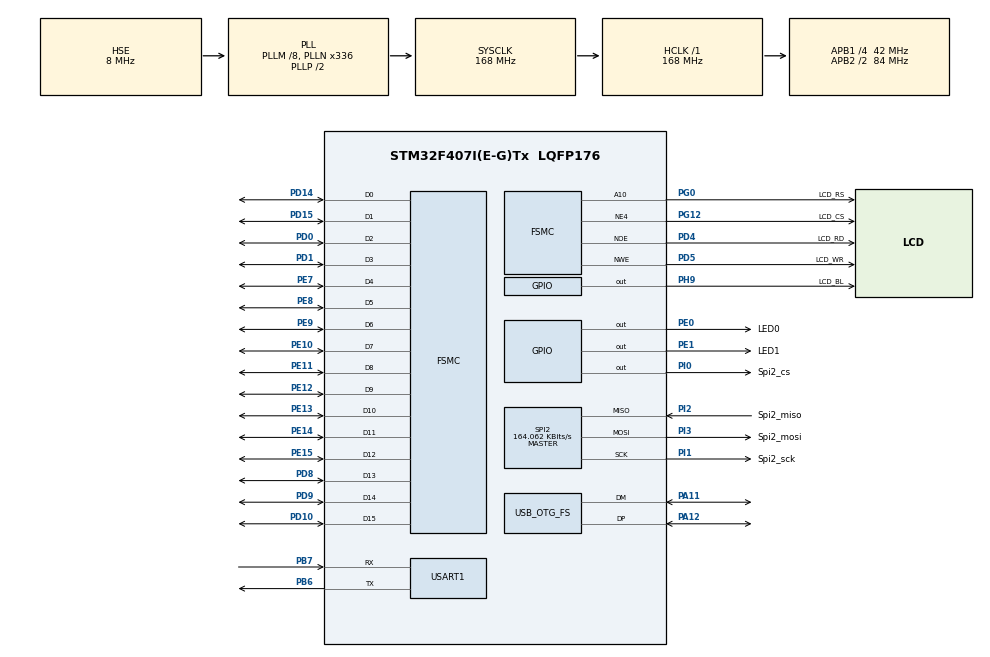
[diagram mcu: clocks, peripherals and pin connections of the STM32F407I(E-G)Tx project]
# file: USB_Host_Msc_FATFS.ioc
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FSMC.AddressSetupTime1=0xf
FSMC.DataSetupTime1=60
FSMC.ExtendedAddressSetupTime1=9
FSMC.ExtendedDataSetupTime1=9
FSMC.ExtendedMode1=FSMC_EXTENDED_MODE_ENABLE
Mcu.Family=STM32F4
Mcu.Name=STM32F407I(E-G)Tx
Mcu.Package=LQFP176
NVIC.OTG_FS_IRQn=true\:1\:0\:true\:false\:true\:true
NVIC.PriorityGroup=NVIC_PRIORITYGROUP_2
PA11.Mode=Host_Only
PA11.Signal=USB_OTG_FS_DM
PA12.Mode=Host_Only
PA12.Signal=USB_OTG_FS_DP
PB6.Mode=Asynchronous
PB6.Signal=USART1_TX
PB7.Mode=Asynchronous
PB7.Signal=USART1_RX
PD0.Signal=FSMC_D2_DA2
PD1.Signal=FSMC_D3_DA3
PD10.Signal=FSMC_D15_DA15
PD14.Signal=FSMC_D0_DA0
PD15.Signal=FSMC_D1_DA1
PD4.GPIO_Label=LCD_RD
PD4.GPIO_PuPd=GPIO_PULLUP
PD4.Signal=FSMC_NOE
PD5.GPIO_Label=LCD_WR
PD5.GPIO_PuPd=GPIO_PULLUP
PD5.Signal=FSMC_NWE
PD8.Signal=FSMC_D13_DA13
PD9.Signal=FSMC_D14_DA14
PE0.GPIO_Label=LED0
PE0.GPIO_Speed=GPIO_SPEED_FREQ_HIGH
PE0.PinState=GPIO_PIN_SET
PE0.Signal=GPIO_Output
PE1.GPIO_Label=LED1
PE1.GPIO_Speed=GPIO_SPEED_FREQ_HIGH
PE1.PinState=GPIO_PIN_SET
PE1.Signal=GPIO_Output
PE10.Signal=FSMC_D7_DA7
PE11.Signal=FSMC_D8_DA8
PE12.Signal=FSMC_D9_DA9
PE13.Signal=FSMC_D10_DA10
PE14.Signal=FSMC_D11_DA11
PE15.Signal=FSMC_D12_DA12
PE7.Signal=FSMC_D4_DA4
PE8.Signal=FSMC_D5_DA5
PE9.Signal=FSMC_D6_DA6
PG0.GPIO_Label=LCD_RS
PG0.GPIO_PuPd=GPIO_PULLUP
PG0.Signal=FSMC_A10
PG12.GPIO_Label=LCD_CS
PG12.GPIO_PuPd=GPIO_PULLUP
PG12.Mode=NorPsramChipSelect4_1
PG12.Signal=FSMC_NE4
PH0-OSC_IN.Mode=HSE-External-Oscillator
PH0-OSC_IN.Signal=RCC_OSC_IN
PH1-OSC_OUT.Mode=HSE-External-Oscillator
PH1-OSC_OUT.Signal=RCC_OSC_OUT
PH9.GPIO_Label=LCD_BL
PH9.GPIO_Speed=GPIO_SPEED_FREQ_HIGH
PH9.PinState=GPIO_PIN_SET
PH9.Signal=GPIO_Output
PI0.GPIO_Label=Spi2_cs
PI0.GPIO_PuPd=GPIO_PULLUP
PI0.GPIO_Speed=GPIO_SPEED_FREQ_HIGH
PI0.PinState=GPIO_PIN_SET
PI0.Signal=GPIO_Output
PI1.GPIO_Label=Spi2_sck
PI1.GPIO_PuPd=GPIO_PULLUP
PI1.Mode=Full_Duplex_Master
PI1.Signal=SPI2_SCK
PI2.GPIO_Label=Spi2_miso
PI2.GPIO_PuPd=GPIO_PULLUP
PI2.Mode=Full_Duplex_Master
PI2.Signal=SPI2_MISO
PI3.GPIO_Label=Spi2_mosi
PI3.GPIO_PuPd=GPIO_PULLUP
PI3.Mode=Full_Duplex_Master
PI3.Signal=SPI2_MOSI
ProjectManager.HeapSize=0x200
ProjectManager.StackSize=0x400
ProjectManager.TargetToolchain=MDK-ARM V5
RCC.48MHZClocksFreq_Value=48000000
RCC.AHBFreq_Value=168000000
RCC.APB1CLKDivider=RCC_HCLK_DIV4
RCC.APB1Freq_Value=42000000
RCC.APB1TimFreq_Value=84000000
RCC.APB2CLKDivider=RCC_HCLK_DIV2
RCC.APB2Freq_Value=84000000
RCC.APB2TimFreq_Value=168000000
RCC.CortexFreq_Value=168000000
RCC.HCLKFreq_Value=168000000
RCC.HSE_VALUE=8000000
RCC.HSI_VALUE=16000000
RCC.LSE_VALUE=32768
RCC.PLLM=8
RCC.PLLN=336
RCC.PLLQ=7
RCC.SYSCLKFreq_VALUE=168000000
RCC.SYSCLKSource=RCC_SYSCLKSOURCE_PLLCLK
RCC.VCOOutputFreq_Value=336000000
SH.FSMC_A10.0=FSMC_A10,A10_1
SH.FSMC_D0_DA0.0=FSMC_D0,16b-d1
SH.FSMC_D10_DA10.0=FSMC_D10,16b-d1
SH.FSMC_D11_DA11.0=FSMC_D11,16b-d1
SH.FSMC_D12_DA12.0=FSMC_D12,16b-d1
SH.FSMC_D13_DA13.0=FSMC_D13,16b-d1
SH.FSMC_D14_DA14.0=FSMC_D14,16b-d1
SH.FSMC_D15_DA15.0=FSMC_D15,16b-d1
SH.FSMC_D1_DA1.0=FSMC_D1,16b-d1
SH.FSMC_D2_DA2.0=FSMC_D2,16b-d1
SH.FSMC_D3_DA3.0=FSMC_D3,16b-d1
SH.FSMC_D4_DA4.0=FSMC_D4,16b-d1
SH.FSMC_D5_DA5.0=FSMC_D5,16b-d1
SH.FSMC_D6_DA6.0=FSMC_D6,16b-d1
SH.FSMC_D7_DA7.0=FSMC_D7,16b-d1
SH.FSMC_D8_DA8.0=FSMC_D8,16b-d1
SH.FSMC_D9_DA9.0=FSMC_D9,16b-d1
SH.FSMC_NOE.0=FSMC_NOE,Lcd1
SH.FSMC_NWE.0=FSMC_NWE,Lcd1
SPI2.BaudRatePrescaler=SPI_BAUDRATEPRESCALER_256
SPI2.CLKPhase=SPI_PHASE_2EDGE
SPI2.CLKPolarity=SPI_POLARITY_HIGH
SPI2.CalculateBaudRate=164.062 KBits/s
SPI2.Direction=SPI_DIRECTION_2LINES
SPI2.Mode=SPI_MODE_MASTER
SPI2.VirtualType=VM_MASTER
USART1.VirtualMode=VM_ASYNC
USB_OTG_FS.VirtualMode=Host_Only
USB_OTG_FS.phy_itface=HCD_PHY_EMBEDDED
board=USB_Host_Msc_FATFS

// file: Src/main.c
/**
  ******************************************************************************
  * @file           : main.c
  * @brief          : Main program body
  ******************************************************************************
  ** This notice applies to any and all portions of this file
  * that are not between comment pairs USER CODE BEGIN and
  * USER CODE END. Other portions of this file, whether
  * inserted by the user or by software development tools
  * are owned by their respective copyright owners.
  *
  * COPYRIGHT(c) 2024 STMicroelectronics
  *
  * Redistribution and use in source and binary forms, with or without modification,
  * are permitted provided that the following conditions are met:
  *   1. Redistributions of source code must retain the above copyright notice,
  *      this list of conditions and the following disclaimer.
  *   2. Redistributions in binary form must reproduce the above copyright notice,
  *      this list of conditions and the following disclaimer in the documentation
  *      and/or other materials provided with the distribution.
  *   3. Neither the name of STMicroelectronics nor the names of its contributors
  *      may be used to endorse or promote products derived from this software
  *      without specific prior written permission.
  *
  * THIS SOFTWARE IS PROVIDED BY THE COPYRIGHT HOLDERS AND CONTRIBUTORS "AS IS"
  * AND ANY EXPRESS OR IMPLIED WARRANTIES, INCLUDING, BUT NOT LIMITED TO, THE
  * IMPLIED WARRANTIES OF MERCHANTABILITY AND FITNESS FOR A PARTICULAR PURPOSE ARE
  * DISCLAIMED. IN NO EVENT SHALL THE COPYRIGHT HOLDER OR CONTRIBUTORS BE LIABLE
  * FOR ANY DIRECT, INDIRECT, INCIDENTAL, SPECIAL, EXEMPLARY, OR CONSEQUENTIAL
  * DAMAGES (INCLUDING, BUT NOT LIMITED TO, PROCUREMENT OF SUBSTITUTE GOODS OR
  * SERVICES; LOSS OF USE, DATA, OR PROFITS; OR BUSINESS INTERRUPTION) HOWEVER
  * CAUSED AND ON ANY THEORY OF LIABILITY, WHETHER IN CONTRACT, STRICT LIABILITY,
  * OR TORT (INCLUDING NEGLIGENCE OR OTHERWISE) ARISING IN ANY WAY OUT OF THE USE
  * OF THIS SOFTWARE, EVEN IF ADVISED OF THE POSSIBILITY OF SUCH DAMAGE.
  *
  ******************************************************************************
  */
#include "main.h"
#include "stm32f4xx_hal.h"
#include "spi.h"
#include "usart.h"
#include "usb_otg.h"
#include "gpio.h"
#include "fsmc.h"

/* USER CODE BEGIN Includes */
#include "lcd.h"
#include "stdio.h"
#include "delay.h"

#include "usbh_def.h"  //USBH_HandleTypeDef

#include "norflash.h"
#include "usbh_core.h"
#include "usbh_msc.h"
#include "exfuns.h"
/* USER CODE END Includes */

/* USER CODE BEGIN PV */
/* Private variables ---------------------------------------------------------*/
//lcd
uint8_t lcd_id[12];
uint16_t colors[12] = {WHITE, BLACK, BLUE, RED, MAGENTA, GREEN, CYAN, YELLOW, BRRED, GRAY, LGRAY, BROWN};
uint8_t color_index = 0;

USBH_HandleTypeDef hUSBHost;    /* USB Host处理结构体 */
uint8_t t = 0;
/* USER CODE END PV */

void SystemClock_Config(void);

/* USER CODE BEGIN PFP */
/* Private function prototypes -----------------------------------------------*/
void USBH_UserProcess(USBH_HandleTypeDef *phost, uint8_t id);
/* USER CODE END PFP */

int main(void)
{

  /* MCU Configuration----------------------------------------------------------*/

  /* Reset of all peripherals, Initializes the Flash interface and the Systick. */
  HAL_Init();

  /* Configure the system clock */
  SystemClock_Config();

  /* Initialize all configured peripherals */
  MX_GPIO_Init();
  MX_USART1_UART_Init();
  MX_USB_OTG_FS_HCD_Init();
  MX_FSMC_Init();
  MX_SPI2_Init();
  /* USER CODE BEGIN 2 */
  //lcd init
	delay_init(168);                    // 延时初始化
	lcd_init();                             // 初始化LCD
  sprintf((char *)lcd_id, "LCD ID:%04X", lcddev.id);  // 将LCD ID打印到lcd_id数组

	my_mem_init(SRAMIN);                /* 初始化内部SRAM内存池 */
	my_mem_init(SRAMCCM);               /* 初始化内部SRAMCCM内存池 */

	exfuns_init();                      /* 为fatfs相关变量申请内存 */

	lcd_show_string(30, 50, 200, 16, 16, "STM32", RED);
	lcd_show_string(30, 70, 200, 16, 16, "USB U Disk TEST", RED);
	lcd_show_string(30, 90, 200, 16, 16, "ATOM@ALIENTEK", RED);

	lcd_show_string(30, 110, 200, 16, 16, "USB Connecting...", RED);    /* 提示USB开始连接 */

	/*
	USBH_HandleTypeDef *phost = (USBH_HandleTypeDef *)malloc(sizeof(USBH_HandleTypeDef));
  memset(phost, 0, sizeof(USBH_HandleTypeDef));
  printf("After malloc and memset: phost->device.is_connected: %u\n", phost->device.is_connected);

	printf("Before USBH_Init: phost->id: %u\n", phost->id);
	printf("Before USBH_Init: phost->device.is_connected: %u\n", phost->device.is_connected);
	USBH_Init(phost, USBH_UserProcess, HOST_FS);
	printf("After USBH_Init: phost->id: %u\n", phost->id);
	printf("After USBH_Init: phost->device.is_connected: %u\n", phost->device.is_connected);

	USBH_RegisterClass(phost, USBH_MSC_CLASS);
	USBH_Start(phost);
	*/

	//printf("Before USBH_Init: phost->id: %u\n", hUSBHost.id);
	//printf("Before USBH_Init: phost->device.is_connected: %u\n", hUSBHost.device.is_connected);
	//printf("Before USBH_Init: phost->device.is_disconnected before: %u\n", hUSBHost.device.is_disconnected);
  //printf("Before USBH_Init: phost->device.is_ReEnumerated before: %u\n", hUSBHost.device.is_ReEnumerated);

	USBH_Init(&hUSBHost, USBH_UserProcess, HOST_FS);
	//printf("After USBH_Init: phost->id: %u\n", hUSBHost.id);
	//printf("After USBH_Init: phost->device.is_connected: %u\n", hUSBHost.device.is_connected);
	//printf("After USBH_Init: phost->device.is_disconnected before: %u\n", hUSBHost.device.is_disconnected);
  //printf("After USBH_Init: phost->device.is_ReEnumerated before: %u\n", hUSBHost.device.is_ReEnumerated);
	//printf("main->phost: %p\n", &hUSBHost);

	USBH_RegisterClass(&hUSBHost, USBH_MSC_CLASS);
	USBH_Start(&hUSBHost);

  /* USER CODE END 2 */

  /* Infinite loop */
  /* USER CODE BEGIN WHILE */
  while (1)
  {
		USBH_Process(&hUSBHost);
		//printf("USB Host state: %d\n", hUSBHost.gState);  //检查 USB 主机状态
		delay_ms(10);
		t++;

		if (t == 50)
		{
				t = 0;
				HAL_GPIO_TogglePin(LED0_GPIO_Port, LED0_Pin);
		}
		//lcd test
		/*
		lcd_clear(colors[color_index]);  //清屏

		lcd_show_string(10, 40, 240, 32, 32, "STM32", RED);
		lcd_show_string(10, 80, 240, 24, 24, "TFTLCD TEST", RED);
		lcd_show_string(10, 110, 240, 16, 16, "ATOM@ALIENTEK", RED);
		lcd_show_string(10, 130, 240, 16, 16, (char *)lcd_id, RED); // 显示LCD ID
		color_index++;

		if (color_index == 12){
				color_index = 0;
		}
		HAL_GPIO_TogglePin(LED0_GPIO_Port, LED0_Pin); // LED0闪烁
		HAL_Delay(1000);
		*/
  /* USER CODE END WHILE */

  }

}

void SystemClock_Config(void)
{

  RCC_OscInitTypeDef RCC_OscInitStruct;
  RCC_ClkInitTypeDef RCC_ClkInitStruct;

    /**Configure the main internal regulator output voltage
    */
  __HAL_RCC_PWR_CLK_ENABLE();

  __HAL_PWR_VOLTAGESCALING_CONFIG(PWR_REGULATOR_VOLTAGE_SCALE1);

    /**Initializes the CPU, AHB and APB busses clocks
    */
  RCC_OscInitStruct.OscillatorType = RCC_OSCILLATORTYPE_HSE;
  RCC_OscInitStruct.HSEState = RCC_HSE_ON;
  RCC_OscInitStruct.PLL.PLLState = RCC_PLL_ON;
  RCC_OscInitStruct.PLL.PLLSource = RCC_PLLSOURCE_HSE;
  RCC_OscInitStruct.PLL.PLLM = 8;
  RCC_OscInitStruct.PLL.PLLN = 336;
  RCC_OscInitStruct.PLL.PLLP = RCC_PLLP_DIV2;
  RCC_OscInitStruct.PLL.PLLQ = 7;
  if (HAL_RCC_OscConfig(&RCC_OscInitStruct) != HAL_OK)
  {
    _Error_Handler(__FILE__, __LINE__);
  }

    /**Initializes the CPU, AHB and APB busses clocks
    */
  RCC_ClkInitStruct.ClockType = RCC_CLOCKTYPE_HCLK|RCC_CLOCKTYPE_SYSCLK
                              |RCC_CLOCKTYPE_PCLK1|RCC_CLOCKTYPE_PCLK2;
  RCC_ClkInitStruct.SYSCLKSource = RCC_SYSCLKSOURCE_PLLCLK;
  RCC_ClkInitStruct.AHBCLKDivider = RCC_SYSCLK_DIV1;
  RCC_ClkInitStruct.APB1CLKDivider = RCC_HCLK_DIV4;
  RCC_ClkInitStruct.APB2CLKDivider = RCC_HCLK_DIV2;

  if (HAL_RCC_ClockConfig(&RCC_ClkInitStruct, FLASH_LATENCY_5) != HAL_OK)
  {
    _Error_Handler(__FILE__, __LINE__);
  }

    /**Configure the Systick interrupt time
    */
  HAL_SYSTICK_Config(HAL_RCC_GetHCLKFreq()/1000);

    /**Configure the Systick
    */
  HAL_SYSTICK_CLKSourceConfig(SYSTICK_CLKSOURCE_HCLK);

  /* SysTick_IRQn interrupt configuration */
  HAL_NVIC_SetPriority(SysTick_IRQn, 0, 0);
}

/* USER CODE BEGIN 4 */

void USBH_UserProcess(USBH_HandleTypeDef *phost, uint8_t id)
{
		//printf("USBH_UserProcess is called\n");
    uint32_t total, free;
    uint8_t res = 0;

    switch (id)
    {
        case HOST_USER_SELECT_CONFIGURATION:
            break;

        case HOST_USER_DISCONNECTION:
            f_mount(0, "1:", 1);        /* 卸载U盘 */
            lcd_show_string(30, 140, 200, 16, 16, "U Disk connecting...", BLUE);
            lcd_fill(30, 160, 239, 220, WHITE);
						//phost->device.is_connected = 0;
            break;

        case HOST_USER_CLASS_ACTIVE:
            lcd_show_string(30, 140, 200, 16, 16, "U Disk connect successful!", BLUE);
            f_mount(fs[1], "1:", 1);    /* 重新挂载U盘 */
            res = exfuns_get_free("1:", &total, &free);

            if (res == 0)
            {
                lcd_show_string(30, 160, 200, 16, 16, "FATFS OK!", BLUE);
                lcd_show_string(30, 180, 200, 16, 16, "U Disk Total Size:     MB", BLUE);
                lcd_show_string(30, 200, 200, 16, 16, "U Disk  Free Size:     MB", BLUE);
                lcd_show_num(174, 180, total >> 10, 5, 16, BLUE);   /* 显示U盘总容量 MB */
                lcd_show_num(174, 200, free >> 10, 5, 16, BLUE);
            }
            else
            {
                lcd_show_string(30, 160, 200, 16, 16, "FATFS ERROR!", BLUE);
                printf("U盘存储空间获取失败\r\n");
            }
            break;

        case HOST_USER_CONNECTION:
						//phost->device.is_connected = 1;
            break;

        default:
            break;
    }
}
/* USER CODE END 4 */

void _Error_Handler(char *file, int line)
{
  while(1)
  {
  }
}

/************************ (C) COPYRIGHT STMicroelectronics *****END OF FILE****/
